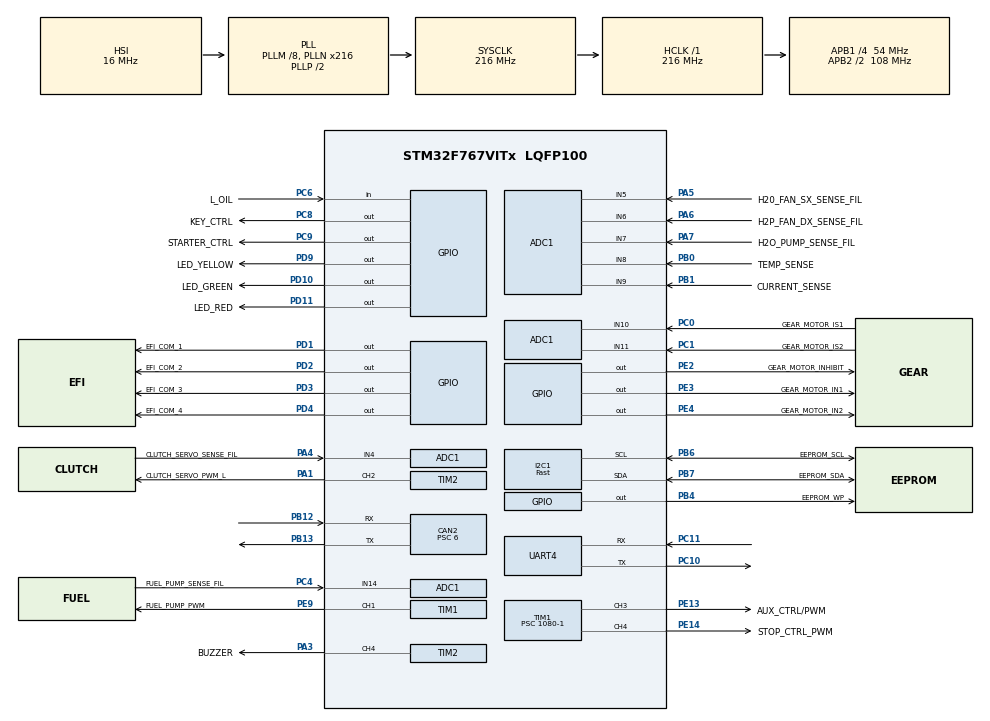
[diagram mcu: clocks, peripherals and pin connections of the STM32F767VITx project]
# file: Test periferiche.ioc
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ADC1.Channel-10\#ChannelRegularConversion=ADC_CHANNEL_14
ADC1.Channel-2\#ChannelRegularConversion=ADC_CHANNEL_4
ADC1.Channel-3\#ChannelRegularConversion=ADC_CHANNEL_5
ADC1.Channel-4\#ChannelRegularConversion=ADC_CHANNEL_6
ADC1.Channel-5\#ChannelRegularConversion=ADC_CHANNEL_7
ADC1.Channel-6\#ChannelRegularConversion=ADC_CHANNEL_8
ADC1.Channel-7\#ChannelRegularConversion=ADC_CHANNEL_9
ADC1.Channel-8\#ChannelRegularConversion=ADC_CHANNEL_10
ADC1.Channel-9\#ChannelRegularConversion=ADC_CHANNEL_11
ADC1.ClockPrescaler=ADC_CLOCK_SYNC_PCLK_DIV8
ADC1.ContinuousConvMode=ENABLE
ADC1.DMAContinuousRequests=ENABLE
ADC1.NbrOfConversion=9
ADC1.NbrOfConversionFlag=1
ADC1.Rank-10\#ChannelRegularConversion=9
ADC1.Rank-2\#ChannelRegularConversion=1
ADC1.Rank-3\#ChannelRegularConversion=2
ADC1.Rank-4\#ChannelRegularConversion=3
ADC1.Rank-5\#ChannelRegularConversion=4
ADC1.Rank-6\#ChannelRegularConversion=5
ADC1.Rank-7\#ChannelRegularConversion=6
ADC1.Rank-8\#ChannelRegularConversion=7
ADC1.Rank-9\#ChannelRegularConversion=8
ADC1.SamplingTime-10\#ChannelRegularConversion=ADC_SAMPLETIME_480CYCLES
ADC1.SamplingTime-2\#ChannelRegularConversion=ADC_SAMPLETIME_480CYCLES
ADC1.SamplingTime-3\#ChannelRegularConversion=ADC_SAMPLETIME_480CYCLES
ADC1.SamplingTime-4\#ChannelRegularConversion=ADC_SAMPLETIME_480CYCLES
ADC1.SamplingTime-5\#ChannelRegularConversion=ADC_SAMPLETIME_480CYCLES
ADC1.SamplingTime-6\#ChannelRegularConversion=ADC_SAMPLETIME_480CYCLES
ADC1.SamplingTime-7\#ChannelRegularConversion=ADC_SAMPLETIME_480CYCLES
ADC1.SamplingTime-8\#ChannelRegularConversion=ADC_SAMPLETIME_480CYCLES
ADC1.SamplingTime-9\#ChannelRegularConversion=ADC_SAMPLETIME_480CYCLES
ADC1.ScanConvMode=ENABLE
ADC1.master=1
CAN2.BS1=CAN_BS1_15TQ
CAN2.BS2=CAN_BS2_2TQ
CAN2.CalculateTimeQuantum=111.11111111111111
CAN2.Prescaler=6
Dma.ADC1.0.Direction=DMA_PERIPH_TO_MEMORY
Dma.ADC1.0.FIFOMode=DMA_FIFOMODE_DISABLE
Dma.ADC1.0.Instance=DMA2_Stream0
Dma.ADC1.0.MemDataAlignment=DMA_MDATAALIGN_WORD
Dma.ADC1.0.MemInc=DMA_MINC_ENABLE
Dma.ADC1.0.Mode=DMA_CIRCULAR
Dma.ADC1.0.PeriphDataAlignment=DMA_PDATAALIGN_WORD
Dma.ADC1.0.PeriphInc=DMA_PINC_DISABLE
Dma.ADC1.0.Priority=DMA_PRIORITY_LOW
Dma.Request0=ADC1
I2C1.I2C_Speed_Mode=I2C_Fast
I2C1.NoStretchMode=I2C_NOSTRETCH_DISABLE
I2C1.Timing=0x6000030D
Mcu.Family=STM32F7
Mcu.Name=STM32F767VITx
Mcu.Package=LQFP100
NVIC.ADC_IRQn=true\:0\:0\:false\:false\:true\:true\:true
NVIC.CAN2_RX0_IRQn=true\:0\:0\:false\:false\:true\:true\:true
NVIC.CAN2_RX1_IRQn=true\:0\:0\:false\:false\:true\:true\:true
NVIC.CAN2_TX_IRQn=true\:0\:0\:false\:false\:true\:true\:true
NVIC.DMA2_Stream0_IRQn=true\:0\:0\:false\:false\:true\:false\:true
NVIC.I2C1_ER_IRQn=true\:0\:0\:false\:false\:true\:true\:true
NVIC.I2C1_EV_IRQn=true\:0\:0\:false\:false\:true\:true\:true
NVIC.PriorityGroup=NVIC_PRIORITYGROUP_4
NVIC.TIM6_DAC_IRQn=true\:0\:0\:false\:false\:true\:true\:true
PA1.GPIO_Label=CLUTCH_SERVO_PWM_L
PA1.Signal=S_TIM2_CH2
PA13.GPIO_Label=SWDIO
PA13.Mode=Trace_Asynchronous_SW
PA13.Signal=SYS_JTMS-SWDIO
PA14.GPIO_Label=SWCLK
PA14.Mode=Trace_Asynchronous_SW
PA14.Signal=SYS_JTCK-SWCLK
PA3.GPIO_Label=BUZZER
PA3.Signal=S_TIM2_CH4
PA4.GPIO_Label=CLUTCH_SERVO_SENSE_FIL
PA4.Signal=ADCx_IN4
PA5.GPIO_Label=H20_FAN_SX_SENSE_FIL
PA5.Signal=ADCx_IN5
PA6.GPIO_Label=H2P_FAN_DX_SENSE_FIL
PA6.Signal=ADCx_IN6
PA7.GPIO_Label=H2O_PUMP_SENSE_FIL
PA7.Signal=ADCx_IN7
PB0.GPIO_Label=TEMP_SENSE
PB0.Signal=ADCx_IN8
PB1.GPIO_Label=CURRENT_SENSE
PB1.Signal=ADCx_IN9
PB12.Mode=Slave
PB12.Signal=CAN2_RX
PB13.Mode=Slave
PB13.Signal=CAN2_TX
PB3.GPIO_Label=SWO
PB3.Mode=Trace_Asynchronous_SW
PB3.Signal=SYS_JTDO-SWO
PB4.GPIO_Label=EEPROM_WP
PB4.GPIO_PuPd=GPIO_PULLUP
PB4.PinState=GPIO_PIN_RESET
PB4.Signal=GPIO_Output
PB6.GPIO_Label=EEPROM_SCL
PB6.Mode=I2C
PB6.Signal=I2C1_SCL
PB7.GPIO_Label=EEPROM_SDA
PB7.Mode=I2C
PB7.Signal=I2C1_SDA
PB8.GPIO_PuPd=GPIO_PULLUP
PB8.Signal=CAN1_RX
PB9.Signal=CAN1_TX
PC0.GPIO_Label=GEAR_MOTOR_IS1
PC0.Signal=ADCx_IN10
PC1.GPIO_Label=GEAR_MOTOR_IS2
PC1.Signal=ADCx_IN11
PC10.Mode=Asynchronous
PC10.Signal=UART4_TX
PC11.Mode=Asynchronous
PC11.Signal=UART4_RX
PC4.GPIO_Label=FUEL_PUMP_SENSE_FIL
PC4.Signal=ADCx_IN14
PC6.GPIO_Label=L_OIL
PC6.Signal=GPIO_Input
PC8.GPIO_Label=KEY_CTRL
PC8.Signal=GPIO_Output
PC9.GPIO_Label=STARTER_CTRL
PC9.Signal=GPIO_Output
PD1.GPIO_Label=EFI_COM_1
PD1.Signal=GPIO_Output
PD10.GPIO_Label=LED_GREEN
PD10.Signal=GPIO_Output
PD11.GPIO_Label=LED_RED
PD11.Signal=GPIO_Output
PD2.GPIO_Label=EFI_COM_2
PD2.Signal=GPIO_Output
PD3.GPIO_Label=EFI_COM_3
PD3.Signal=GPIO_Output
PD4.GPIO_Label=EFI_COM_4
PD4.Signal=GPIO_Output
PD9.GPIO_Label=LED_YELLOW
PD9.Signal=GPIO_Output
PE13.GPIO_Label=AUX_CTRL/PWM
PE13.Signal=S_TIM1_CH3
PE14.GPIO_Label=STOP_CTRL_PWM
PE14.Signal=S_TIM1_CH4
PE2.GPIO_Label=GEAR_MOTOR_INHIBIT
PE2.Signal=GPIO_Output
PE3.GPIO_Label=GEAR_MOTOR_IN1
PE3.Signal=GPIO_Output
PE4.GPIO_Label=GEAR_MOTOR_IN2
PE4.Signal=GPIO_Output
PE9.GPIO_Label=FUEL_PUMP_PWM
PE9.Signal=S_TIM1_CH1
PH0/OSC_IN.GPIO_Label=MCU_OSC_IN
PH0/OSC_IN.Mode=HSE-External-Oscillator
PH0/OSC_IN.Signal=RCC_OSC_IN
PH1/OSC_OUT.GPIO_Label=MCU_OSC_OUT
PH1/OSC_OUT.Mode=HSE-External-Oscillator
PH1/OSC_OUT.Signal=RCC_OSC_OUT
ProjectManager.HeapSize=0x200
ProjectManager.StackSize=0x400
ProjectManager.TargetToolchain=MDK-ARM V5
RCC.AHBFreq_Value=216000000
RCC.APB1CLKDivider=RCC_HCLK_DIV4
RCC.APB1Freq_Value=54000000
RCC.APB1TimFreq_Value=108000000
RCC.APB2CLKDivider=RCC_HCLK_DIV2
RCC.APB2Freq_Value=108000000
RCC.APB2TimFreq_Value=216000000
RCC.CortexFreq_Value=216000000
RCC.HCLKFreq_Value=216000000
RCC.HSE_VALUE=8000000
RCC.HSI_VALUE=16000000
RCC.LSE_VALUE=32768
RCC.PLLM=8
RCC.PLLN=216
RCC.SYSCLKFreq_VALUE=216000000
RCC.SYSCLKSource=RCC_SYSCLKSOURCE_PLLCLK
RCC.USART1CLockSelection=RCC_USART1CLKSOURCE_SYSCLK
RCC.USBFreq_Value=216000000
RCC.VCOOutputFreq_Value=432000000
SH.ADCx_IN10.0=ADC1_IN10,IN10
SH.ADCx_IN11.0=ADC1_IN11,IN11
SH.ADCx_IN14.0=ADC1_IN14,IN14
SH.ADCx_IN4.0=ADC1_IN4,IN4
SH.ADCx_IN5.0=ADC1_IN5,IN5
SH.ADCx_IN6.0=ADC1_IN6,IN6
SH.ADCx_IN7.0=ADC1_IN7,IN7
SH.ADCx_IN8.0=ADC1_IN8,IN8
SH.ADCx_IN9.0=ADC1_IN9,IN9
SH.S_TIM1_CH1.0=TIM1_CH1,PWM Generation1 CH1
SH.S_TIM1_CH3.0=TIM1_CH3,Output Compare3 CH3
SH.S_TIM1_CH4.0=TIM1_CH4,PWM Generation4 CH4
SH.S_TIM2_CH2.0=TIM2_CH2,PWM Generation2 CH2
SH.S_TIM2_CH4.0=TIM2_CH4,PWM Generation4 CH4
TIM1.Channel-Output\ Compare3\ CH3=TIM_CHANNEL_3
TIM1.Channel-PWM\ Generation1\ CH1=TIM_CHANNEL_1
TIM1.Channel-PWM\ Generation4\ CH4=TIM_CHANNEL_4
TIM1.Period=2000-1
TIM1.Prescaler=1080-1
TIM2.Channel-PWM\ Generation2\ CH2=TIM_CHANNEL_2
TIM2.Channel-PWM\ Generation4\ CH4=TIM_CHANNEL_4
TIM2.Period=2000-1
TIM2.Prescaler=1080-1
TIM6.Period=108-1
TIM6.Prescaler=1000-1
VP_TIM3_VS_ClockSourceINT.Mode=Internal
VP_TIM6_VS_ClockSourceINT.Mode=Enable_Timer
board=custom

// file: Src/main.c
/* USER CODE BEGIN Header */
/**
  ******************************************************************************
  * @file           : main.c
  * @brief          : Main program body
  ******************************************************************************
  * @attention
  *
  * <h2><center>&copy; Copyright (c) 2019 STMicroelectronics.
  * All rights reserved.</center></h2>
  *
  * This software component is licensed by ST under BSD 3-Clause license,
  * the "License"; You may not use this file except in compliance with the
  * License. You may obtain a copy of the License at:
  *                        opensource.org/licenses/BSD-3-Clause
  *
  ******************************************************************************
  */
/* USER CODE END Header */

#include "main.h"
#include "adc.h"
#include "can.h"
#include "dma.h"
#include "gfxsimulator.h"
#include "i2c.h"
#include "tim.h"
#include "usart.h"
#include "gpio.h"

void SystemClock_Config(void);

/* USER CODE BEGIN 0 */
uint8_t rxData[2] = {0,0};
int counter = 0;
uint8_t bufferTx[16];
uint8_t bufferRx[16];
uint8_t resReceive = 8;
uint8_t resSend = 8;
uint8_t flag = 0;
uint8_t i = 0, j = 0;
uint8_t page = 0;
uint8_t cell = 0;
uint8_t eepromAddress = 0xA;
uint8_t devAddress = 0;
uint8_t memAddress = 0;

/* USER CODE END 0 */

int main(void)
{

  /* MCU Configuration--------------------------------------------------------*/

  /* Reset of all peripherals, Initializes the Flash interface and the Systick. */
  HAL_Init();

  /* Configure the system clock */
  SystemClock_Config();

  /* Initialize all configured peripherals */
  MX_GPIO_Init();
  MX_DMA_Init();
  MX_ADC1_Init();
  MX_CAN2_Init();
  MX_I2C1_Init();
  MX_TIM1_Init();
  MX_TIM2_Init();
  MX_UART4_Init();
  MX_GFXSIMULATOR_Init();
  MX_TIM3_Init();
  MX_TIM6_Init();

  /* USER CODE BEGIN 2 */
	HAL_TIM_Base_Start_IT(&htim6);
	HAL_UART_Receive_IT(&huart4, rxData, 1);

	CAN2_Start();

	HAL_Delay(250);

	//HAL_GPIO_TogglePin(LED_YELLOW_GPIO_Port, LED_YELLOW_Pin);
	//HAL_GPIO_WritePin(GPIOB, GPIO_PIN_4, GPIO_PIN_RESET);
	HAL_GPIO_WritePin(EEPROM_WP_GPIO_Port, EEPROM_WP_Pin, GPIO_PIN_SET);

	page = 1;
	cell = 0;

	devAddress = eepromAddress << 3 | page >> 4;
	memAddress = page << 4 | cell;

  /* USER CODE END 2 */

  /* Infinite loop */
  while (1)
  {

    /* USER CODE BEGIN 3 */
		//HAL_GPIO_TogglePin(LED_RED_GPIO_Port, LED_RED_Pin);
		//CAN2_Send_GCU_Packet();

		//HAL_I2C_Master_Transmit(&hi2c1,
		if(flag == 2)
		{

			//resReceive = HAL_I2C_Mem_Read(&hi2c1, 0x50<<1, 0x10, I2C_MEMADD_SIZE_8BIT, bufferRx, 16, 100);
			resReceive = HAL_I2C_Mem_Read(&hi2c1, devAddress<<1, memAddress, I2C_MEMADD_SIZE_8BIT, bufferRx, 16, 100);
			flag = 0;
		}
		//HAL_GPIO_TogglePin(LED_RED_GPIO_Port, LED_RED_Pin);

		//HAL_Delay(500);
  }
  /* USER CODE END 3 */
}

void SystemClock_Config(void)
{
  RCC_OscInitTypeDef RCC_OscInitStruct = {0};
  RCC_ClkInitTypeDef RCC_ClkInitStruct = {0};
  RCC_PeriphCLKInitTypeDef PeriphClkInitStruct = {0};

  /** Configure the main internal regulator output voltage
  */
  __HAL_RCC_PWR_CLK_ENABLE();
  __HAL_PWR_VOLTAGESCALING_CONFIG(PWR_REGULATOR_VOLTAGE_SCALE1);
  /** Initializes the CPU, AHB and APB busses clocks
  */
  RCC_OscInitStruct.OscillatorType = RCC_OSCILLATORTYPE_HSI;
  RCC_OscInitStruct.HSIState = RCC_HSI_ON;
  RCC_OscInitStruct.HSICalibrationValue = RCC_HSICALIBRATION_DEFAULT;
  RCC_OscInitStruct.PLL.PLLState = RCC_PLL_ON;
  RCC_OscInitStruct.PLL.PLLSource = RCC_PLLSOURCE_HSI;
  RCC_OscInitStruct.PLL.PLLM = 8;
  RCC_OscInitStruct.PLL.PLLN = 216;
  RCC_OscInitStruct.PLL.PLLP = RCC_PLLP_DIV2;
  RCC_OscInitStruct.PLL.PLLQ = 2;
  if (HAL_RCC_OscConfig(&RCC_OscInitStruct) != HAL_OK)
  {
    Error_Handler();
  }
  /** Activate the Over-Drive mode
  */
  if (HAL_PWREx_EnableOverDrive() != HAL_OK)
  {
    Error_Handler();
  }
  /** Initializes the CPU, AHB and APB busses clocks
  */
  RCC_ClkInitStruct.ClockType = RCC_CLOCKTYPE_HCLK|RCC_CLOCKTYPE_SYSCLK
                              |RCC_CLOCKTYPE_PCLK1|RCC_CLOCKTYPE_PCLK2;
  RCC_ClkInitStruct.SYSCLKSource = RCC_SYSCLKSOURCE_PLLCLK;
  RCC_ClkInitStruct.AHBCLKDivider = RCC_SYSCLK_DIV1;
  RCC_ClkInitStruct.APB1CLKDivider = RCC_HCLK_DIV4;
  RCC_ClkInitStruct.APB2CLKDivider = RCC_HCLK_DIV2;

  if (HAL_RCC_ClockConfig(&RCC_ClkInitStruct, FLASH_LATENCY_7) != HAL_OK)
  {
    Error_Handler();
  }
  PeriphClkInitStruct.PeriphClockSelection = RCC_PERIPHCLK_UART4|RCC_PERIPHCLK_I2C1;
  PeriphClkInitStruct.Uart4ClockSelection = RCC_UART4CLKSOURCE_PCLK1;
  PeriphClkInitStruct.I2c1ClockSelection = RCC_I2C1CLKSOURCE_PCLK1;
  if (HAL_RCCEx_PeriphCLKConfig(&PeriphClkInitStruct) != HAL_OK)
  {
    Error_Handler();
  }
}

/* USER CODE BEGIN 4 */
void HAL_TIM_PeriodElapsedCallback(TIM_HandleTypeDef *htim)
{
	if(htim->Instance == TIM6)
	{
		counter++;

		if(counter >= 500)
		{
			if (flag == 0)
			{
				HAL_GPIO_WritePin(EEPROM_WP_GPIO_Port, EEPROM_WP_Pin, GPIO_PIN_RESET);
				for(i=0; i < 16; i++)
				{
					bufferTx[i]++;
				}
				//resSend = HAL_I2C_Mem_Write(&hi2c1, 0x50<<1, 0x10, I2C_MEMADD_SIZE_8BIT, bufferTx, 16, 100);
				resSend = HAL_I2C_Mem_Write(&hi2c1, devAddress<<1, memAddress, I2C_MEMADD_SIZE_8BIT, bufferTx, 16, 100);
				HAL_GPIO_WritePin(LED_RED_GPIO_Port, LED_RED_Pin, GPIO_PIN_SET);
				HAL_GPIO_WritePin(EEPROM_WP_GPIO_Port, EEPROM_WP_Pin, GPIO_PIN_SET);
				flag = 1;
			}
			else if(flag == 1)
			{

				flag = 2;
				HAL_GPIO_WritePin(LED_RED_GPIO_Port, LED_RED_Pin, GPIO_PIN_RESET);
			}

			//HAL_GPIO_TogglePin(LED_GREEN_GPIO_Port, LED_GREEN_Pin);
			//HAL_GPIO_TogglePin(LED_YELLOW_GPIO_Port, LED_YELLOW_Pin);

			counter = 0;
		}
	}
}

void HAL_UART_RxCpltCallback(UART_HandleTypeDef *huart)
{
	//HAL_GPIO_TogglePin(LED_YELLOW_GPIO_Port, LED_YELLOW_Pin);
	HAL_GPIO_TogglePin(LED_RED_GPIO_Port, LED_RED_Pin);
	HAL_UART_Receive_IT(&huart4, rxData, 1);
}
/* USER CODE END 4 */

void Error_Handler(void)
{
}

/************************ (C) COPYRIGHT STMicroelectronics *****END OF FILE****/
